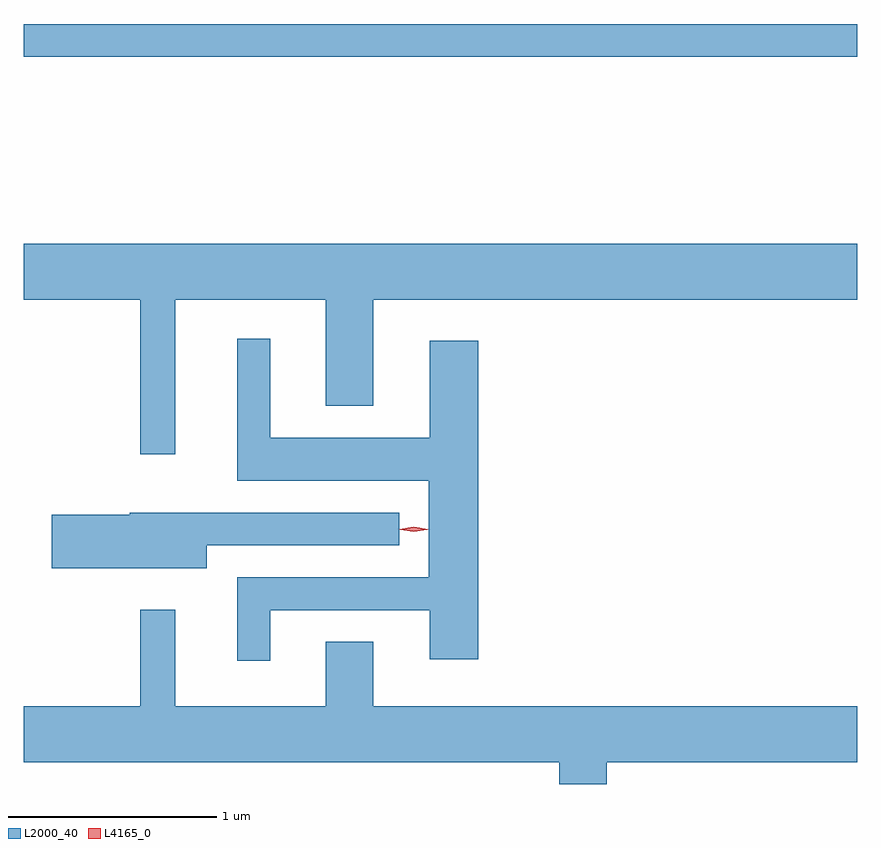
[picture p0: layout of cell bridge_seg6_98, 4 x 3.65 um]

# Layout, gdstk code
import gdstk
lib = gdstk.Library(unit=1e-6, precision=1e-09)
def R(c, l, rs):  # rectangles x0, y0, x1, y1
    for r in rs: c.add(gdstk.rectangle(r[:2], r[2:], *l))
def P(c, l, *ps):  # polygons
    for p in ps: c.add(gdstk.Polygon(p, *l))
L2000_40 = (2000, 40)
L4165_0 = (4165, 0)

bridge_seg6_98 = lib.new_cell('bridge_seg6_98')
R(bridge_seg6_98, L2000_40, [(1155.332,1617.801,1159.332,1617.959)])
P(bridge_seg6_98, L2000_40, [(1156.059,1616.636),(1156.781,1616.636),(1156.781,1616.126),(1157.009,1616.126),(1157.009,1616.636),(1159.332,1616.636),(1159.332,1616.904),(1155.332,1616.904),(1155.332,1616.636),(1155.891,1616.636),(1155.891,1615.893),(1156.059,1615.893)],
  [(1156.514,1615.146),(1157.281,1615.146),(1157.281,1614.911),(1157.514,1614.911),(1157.514,1616.439),(1157.281,1616.439),(1157.281,1615.974),(1156.514,1615.974),(1156.514,1616.448),(1156.356,1616.448),(1156.356,1615.766),(1157.276,1615.766),(1157.276,1615.304),(1156.356,1615.304),(1156.356,1614.903),(1156.514,1614.903)],
  [(1156.209,1615.456),(1157.133,1615.456),(1157.133,1615.614),(1155.84,1615.614),(1155.84,1615.604),(1155.466,1615.604),(1155.466,1615.346),(1156.209,1615.346)],
  [(1158.129,1614.416),(1159.332,1614.416),(1159.332,1614.684),(1157.009,1614.684),(1157.009,1614.994),(1156.781,1614.994),(1156.781,1614.684),(1156.059,1614.684),(1156.059,1615.148),(1155.891,1615.148),(1155.891,1614.684),(1155.332,1614.684),(1155.332,1614.416),(1157.901,1614.416),(1157.901,1614.311),(1158.129,1614.311)])
P(bridge_seg6_98, L4165_0, [(1157.203,1615.525),(1157.134,1615.534),(1157.133,1615.535),(1157.134,1615.535),(1157.203,1615.545),(1157.272,1615.535),(1157.272,1615.535),(1157.272,1615.534)],
  [(1157.204,1615.523),(1157.138,1615.532),(1157.137,1615.533),(1157.138,1615.533),(1157.204,1615.543),(1157.269,1615.533),(1157.27,1615.533),(1157.269,1615.532)])

lib.write_gds('bridge_seg6_98.gds')
